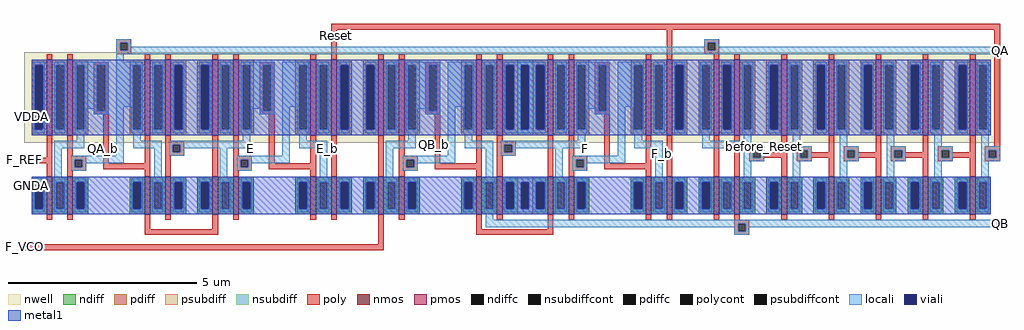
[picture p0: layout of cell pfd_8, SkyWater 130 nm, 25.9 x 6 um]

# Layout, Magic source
magic
tech sky130A
<< nwell >>
rect -60 140 2525 380
<< nmos >>
rect 0 -50 15 50
rect 55 -50 70 50
rect 260 -50 275 50
rect 315 -50 330 50
rect 440 -50 455 50
rect 495 -50 510 50
rect 700 -50 715 50
rect 755 -50 770 50
rect 880 -50 895 50
rect 935 -50 950 50
rect 1140 -50 1155 50
rect 1195 -50 1210 50
rect 1330 -50 1345 50
rect 1385 -50 1400 50
rect 1590 -50 1605 50
rect 1645 -50 1660 50
rect 1770 -50 1785 50
rect 1825 -50 1840 50
rect 1950 -50 1965 50
rect 2075 -50 2090 50
rect 2200 -50 2215 50
rect 2325 -50 2340 50
rect 2450 -50 2465 50
<< pmos >>
rect 0 160 15 360
rect 55 160 70 360
rect 260 160 275 360
rect 315 160 330 360
rect 440 160 455 360
rect 495 160 510 360
rect 700 160 715 360
rect 755 160 770 360
rect 880 160 895 360
rect 935 160 950 360
rect 1140 160 1155 360
rect 1195 160 1210 360
rect 1330 160 1345 360
rect 1385 160 1400 360
rect 1590 160 1605 360
rect 1645 160 1660 360
rect 1770 160 1785 360
rect 1825 160 1840 360
rect 1950 160 1965 360
rect 2075 160 2090 360
rect 2200 160 2215 360
rect 2325 160 2340 360
rect 2450 160 2465 360
<< ndiff >>
rect -40 35 0 50
rect -40 -35 -30 35
rect -10 -35 0 35
rect -40 -50 0 -35
rect 15 35 55 50
rect 15 -35 25 35
rect 45 -35 55 35
rect 15 -50 55 -35
rect 70 35 110 50
rect 70 -35 80 35
rect 100 -35 110 35
rect 70 -50 110 -35
rect 220 35 260 50
rect 220 -35 230 35
rect 250 -35 260 35
rect 220 -50 260 -35
rect 275 35 315 50
rect 275 -35 285 35
rect 305 -35 315 35
rect 275 -50 315 -35
rect 330 35 370 50
rect 330 -35 340 35
rect 360 -35 370 35
rect 330 -50 370 -35
rect 400 35 440 50
rect 400 -35 410 35
rect 430 -35 440 35
rect 400 -50 440 -35
rect 455 35 495 50
rect 455 -35 465 35
rect 485 -35 495 35
rect 455 -50 495 -35
rect 510 35 550 50
rect 510 -35 520 35
rect 540 -35 550 35
rect 510 -50 550 -35
rect 660 35 700 50
rect 660 -35 670 35
rect 690 -35 700 35
rect 660 -50 700 -35
rect 715 35 755 50
rect 715 -35 725 35
rect 745 -35 755 35
rect 715 -50 755 -35
rect 770 35 810 50
rect 770 -35 780 35
rect 800 -35 810 35
rect 770 -50 810 -35
rect 840 35 880 50
rect 840 -35 850 35
rect 870 -35 880 35
rect 840 -50 880 -35
rect 895 35 935 50
rect 895 -35 905 35
rect 925 -35 935 35
rect 895 -50 935 -35
rect 950 35 990 50
rect 950 -35 960 35
rect 980 -35 990 35
rect 950 -50 990 -35
rect 1100 35 1140 50
rect 1100 -35 1110 35
rect 1130 -35 1140 35
rect 1100 -50 1140 -35
rect 1155 35 1195 50
rect 1155 -35 1165 35
rect 1185 -35 1195 35
rect 1155 -50 1195 -35
rect 1210 35 1250 50
rect 1290 35 1330 50
rect 1210 -35 1220 35
rect 1240 -35 1250 35
rect 1290 -35 1300 35
rect 1320 -35 1330 35
rect 1210 -50 1250 -35
rect 1290 -50 1330 -35
rect 1345 35 1385 50
rect 1345 -35 1355 35
rect 1375 -35 1385 35
rect 1345 -50 1385 -35
rect 1400 35 1440 50
rect 1400 -35 1410 35
rect 1430 -35 1440 35
rect 1400 -50 1440 -35
rect 1550 35 1590 50
rect 1550 -35 1560 35
rect 1580 -35 1590 35
rect 1550 -50 1590 -35
rect 1605 35 1645 50
rect 1605 -35 1615 35
rect 1635 -35 1645 35
rect 1605 -50 1645 -35
rect 1660 35 1700 50
rect 1660 -35 1670 35
rect 1690 -35 1700 35
rect 1660 -50 1700 -35
rect 1730 35 1770 50
rect 1730 -35 1740 35
rect 1760 -35 1770 35
rect 1730 -50 1770 -35
rect 1785 35 1825 50
rect 1785 -35 1795 35
rect 1815 -35 1825 35
rect 1785 -50 1825 -35
rect 1840 35 1880 50
rect 1840 -35 1850 35
rect 1870 -35 1880 35
rect 1840 -50 1880 -35
rect 1910 35 1950 50
rect 1910 -35 1920 35
rect 1940 -35 1950 35
rect 1910 -50 1950 -35
rect 1965 35 2005 50
rect 1965 -35 1975 35
rect 1995 -35 2005 35
rect 1965 -50 2005 -35
rect 2035 35 2075 50
rect 2035 -35 2045 35
rect 2065 -35 2075 35
rect 2035 -50 2075 -35
rect 2090 35 2130 50
rect 2090 -35 2100 35
rect 2120 -35 2130 35
rect 2090 -50 2130 -35
rect 2160 35 2200 50
rect 2160 -35 2170 35
rect 2190 -35 2200 35
rect 2160 -50 2200 -35
rect 2215 35 2255 50
rect 2215 -35 2225 35
rect 2245 -35 2255 35
rect 2215 -50 2255 -35
rect 2285 35 2325 50
rect 2285 -35 2295 35
rect 2315 -35 2325 35
rect 2285 -50 2325 -35
rect 2340 35 2380 50
rect 2340 -35 2350 35
rect 2370 -35 2380 35
rect 2340 -50 2380 -35
rect 2410 35 2450 50
rect 2410 -35 2420 35
rect 2440 -35 2450 35
rect 2410 -50 2450 -35
rect 2465 35 2505 50
rect 2465 -35 2475 35
rect 2495 -35 2505 35
rect 2465 -50 2505 -35
<< pdiff >>
rect -40 345 0 360
rect -40 175 -30 345
rect -10 175 0 345
rect -40 160 0 175
rect 15 345 55 360
rect 15 175 25 345
rect 45 175 55 345
rect 15 160 55 175
rect 70 345 110 360
rect 70 175 80 345
rect 100 175 110 345
rect 70 160 110 175
rect 220 345 260 360
rect 220 175 230 345
rect 250 175 260 345
rect 220 160 260 175
rect 275 345 315 360
rect 275 175 285 345
rect 305 175 315 345
rect 275 160 315 175
rect 330 345 370 360
rect 330 175 340 345
rect 360 175 370 345
rect 330 160 370 175
rect 400 345 440 360
rect 400 175 410 345
rect 430 175 440 345
rect 400 160 440 175
rect 455 345 495 360
rect 455 175 465 345
rect 485 175 495 345
rect 455 160 495 175
rect 510 345 550 360
rect 510 175 520 345
rect 540 175 550 345
rect 510 160 550 175
rect 660 345 700 360
rect 660 175 670 345
rect 690 175 700 345
rect 660 160 700 175
rect 715 345 755 360
rect 715 175 725 345
rect 745 175 755 345
rect 715 160 755 175
rect 770 345 810 360
rect 770 175 780 345
rect 800 175 810 345
rect 770 160 810 175
rect 840 345 880 360
rect 840 175 850 345
rect 870 175 880 345
rect 840 160 880 175
rect 895 345 935 360
rect 895 175 905 345
rect 925 175 935 345
rect 895 160 935 175
rect 950 345 990 360
rect 950 175 960 345
rect 980 175 990 345
rect 950 160 990 175
rect 1100 345 1140 360
rect 1100 175 1110 345
rect 1130 175 1140 345
rect 1100 160 1140 175
rect 1155 345 1195 360
rect 1155 175 1165 345
rect 1185 175 1195 345
rect 1155 160 1195 175
rect 1210 345 1250 360
rect 1290 345 1330 360
rect 1210 175 1220 345
rect 1240 175 1250 345
rect 1290 175 1300 345
rect 1320 175 1330 345
rect 1210 160 1250 175
rect 1290 160 1330 175
rect 1345 345 1385 360
rect 1345 175 1355 345
rect 1375 175 1385 345
rect 1345 160 1385 175
rect 1400 345 1440 360
rect 1400 175 1410 345
rect 1430 175 1440 345
rect 1400 160 1440 175
rect 1550 345 1590 360
rect 1550 175 1560 345
rect 1580 175 1590 345
rect 1550 160 1590 175
rect 1605 345 1645 360
rect 1605 175 1615 345
rect 1635 175 1645 345
rect 1605 160 1645 175
rect 1660 345 1700 360
rect 1660 175 1670 345
rect 1690 175 1700 345
rect 1660 160 1700 175
rect 1730 345 1770 360
rect 1730 175 1740 345
rect 1760 175 1770 345
rect 1730 160 1770 175
rect 1785 345 1825 360
rect 1785 175 1795 345
rect 1815 175 1825 345
rect 1785 160 1825 175
rect 1840 345 1880 360
rect 1840 175 1850 345
rect 1870 175 1880 345
rect 1840 160 1880 175
rect 1910 345 1950 360
rect 1910 175 1920 345
rect 1940 175 1950 345
rect 1910 160 1950 175
rect 1965 345 2005 360
rect 1965 175 1975 345
rect 1995 175 2005 345
rect 1965 160 2005 175
rect 2035 345 2075 360
rect 2035 175 2045 345
rect 2065 175 2075 345
rect 2035 160 2075 175
rect 2090 345 2130 360
rect 2090 175 2100 345
rect 2120 175 2130 345
rect 2090 160 2130 175
rect 2160 345 2200 360
rect 2160 175 2170 345
rect 2190 175 2200 345
rect 2160 160 2200 175
rect 2215 345 2255 360
rect 2215 175 2225 345
rect 2245 175 2255 345
rect 2215 160 2255 175
rect 2285 345 2325 360
rect 2285 175 2295 345
rect 2315 175 2325 345
rect 2285 160 2325 175
rect 2340 345 2380 360
rect 2340 175 2350 345
rect 2370 175 2380 345
rect 2340 160 2380 175
rect 2410 345 2450 360
rect 2410 175 2420 345
rect 2440 175 2450 345
rect 2410 160 2450 175
rect 2465 345 2505 360
rect 2465 175 2475 345
rect 2495 175 2505 345
rect 2465 160 2505 175
<< ndiffc >>
rect -30 -35 -10 35
rect 25 -35 45 35
rect 80 -35 100 35
rect 230 -35 250 35
rect 285 -35 305 35
rect 340 -35 360 35
rect 410 -35 430 35
rect 465 -35 485 35
rect 520 -35 540 35
rect 670 -35 690 35
rect 725 -35 745 35
rect 780 -35 800 35
rect 850 -35 870 35
rect 905 -35 925 35
rect 960 -35 980 35
rect 1110 -35 1130 35
rect 1165 -35 1185 35
rect 1220 -35 1240 35
rect 1300 -35 1320 35
rect 1355 -35 1375 35
rect 1410 -35 1430 35
rect 1560 -35 1580 35
rect 1615 -35 1635 35
rect 1670 -35 1690 35
rect 1740 -35 1760 35
rect 1795 -35 1815 35
rect 1850 -35 1870 35
rect 1920 -35 1940 35
rect 1975 -35 1995 35
rect 2045 -35 2065 35
rect 2100 -35 2120 35
rect 2170 -35 2190 35
rect 2225 -35 2245 35
rect 2295 -35 2315 35
rect 2350 -35 2370 35
rect 2420 -35 2440 35
rect 2475 -35 2495 35
<< pdiffc >>
rect -30 175 -10 345
rect 25 175 45 345
rect 80 175 100 345
rect 230 175 250 345
rect 285 175 305 345
rect 340 175 360 345
rect 410 175 430 345
rect 465 175 485 345
rect 520 175 540 345
rect 670 175 690 345
rect 725 175 745 345
rect 780 175 800 345
rect 850 175 870 345
rect 905 175 925 345
rect 960 175 980 345
rect 1110 175 1130 345
rect 1165 175 1185 345
rect 1220 175 1240 345
rect 1300 175 1320 345
rect 1355 175 1375 345
rect 1410 175 1430 345
rect 1560 175 1580 345
rect 1615 175 1635 345
rect 1670 175 1690 345
rect 1740 175 1760 345
rect 1795 175 1815 345
rect 1850 175 1870 345
rect 1920 175 1940 345
rect 1975 175 1995 345
rect 2045 175 2065 345
rect 2100 175 2120 345
rect 2170 175 2190 345
rect 2225 175 2245 345
rect 2295 175 2315 345
rect 2350 175 2370 345
rect 2420 175 2440 345
rect 2475 175 2495 345
<< psubdiff >>
rect 1250 35 1290 50
rect 1250 -35 1260 35
rect 1280 -35 1290 35
rect 1250 -50 1290 -35
<< nsubdiff >>
rect 1250 345 1290 360
rect 1250 175 1260 345
rect 1280 175 1290 345
rect 1250 160 1290 175
<< psubdiffcont >>
rect 1260 -35 1280 35
<< nsubdiffcont >>
rect 1260 175 1280 345
<< poly >>
rect 755 440 2530 455
rect 185 405 225 415
rect 185 385 195 405
rect 215 385 225 405
rect 185 375 225 385
rect 0 360 15 375
rect 55 360 70 375
rect 260 360 275 375
rect 315 360 330 375
rect 440 360 455 375
rect 495 360 510 375
rect 700 360 715 375
rect 755 360 770 440
rect 880 360 895 375
rect 935 360 950 375
rect 1140 360 1155 375
rect 1195 360 1210 375
rect 1330 360 1345 375
rect 1385 360 1400 375
rect 1590 360 1605 375
rect 1645 360 1660 440
rect 1745 405 1785 415
rect 1745 385 1755 405
rect 1775 385 1785 405
rect 1745 375 1785 385
rect 1770 360 1785 375
rect 1825 360 1840 375
rect 1950 360 1965 375
rect 2075 360 2090 375
rect 2200 360 2215 375
rect 2325 360 2340 375
rect 2450 360 2465 375
rect 125 345 165 355
rect 125 225 135 345
rect 155 225 165 345
rect 125 215 165 225
rect 0 100 15 160
rect -60 85 15 100
rect 0 50 15 85
rect 55 105 70 160
rect 55 95 105 105
rect 55 75 75 95
rect 95 75 105 95
rect 55 65 105 75
rect 150 85 165 215
rect 565 345 605 355
rect 565 225 575 345
rect 595 225 605 345
rect 565 215 605 225
rect 260 85 275 160
rect 150 70 275 85
rect 55 50 70 65
rect 260 50 275 70
rect 315 145 330 160
rect 315 135 365 145
rect 315 115 335 135
rect 355 115 365 135
rect 315 105 365 115
rect 315 50 330 105
rect 440 50 455 160
rect 495 105 510 160
rect 495 95 545 105
rect 495 75 515 95
rect 535 75 545 95
rect 495 65 545 75
rect 590 85 605 215
rect 1005 345 1045 355
rect 1005 225 1015 345
rect 1035 225 1045 345
rect 1005 215 1045 225
rect 700 85 715 160
rect 590 70 715 85
rect 495 50 510 65
rect 700 50 715 70
rect 755 50 770 160
rect 880 50 895 160
rect 935 105 950 160
rect 935 95 985 105
rect 935 75 955 95
rect 975 75 985 95
rect 935 65 985 75
rect 1030 85 1045 215
rect 1455 345 1495 355
rect 1455 225 1465 345
rect 1485 225 1495 345
rect 1455 215 1495 225
rect 1140 85 1155 160
rect 1030 70 1155 85
rect 935 50 950 65
rect 1140 50 1155 70
rect 1195 145 1210 160
rect 1195 135 1245 145
rect 1195 115 1215 135
rect 1235 115 1245 135
rect 1195 105 1245 115
rect 1195 50 1210 105
rect 1330 50 1345 160
rect 1385 105 1400 160
rect 1385 95 1435 105
rect 1385 75 1405 95
rect 1425 75 1435 95
rect 1385 65 1435 75
rect 1480 85 1495 215
rect 1590 85 1605 160
rect 1480 70 1605 85
rect 1385 50 1400 65
rect 1590 50 1605 70
rect 1645 50 1660 160
rect 1770 50 1785 160
rect 1825 50 1840 160
rect 1865 120 1905 130
rect 1865 100 1875 120
rect 1895 115 1905 120
rect 1950 115 1965 160
rect 1895 100 1965 115
rect 1865 90 1905 100
rect 1950 50 1965 100
rect 1990 120 2030 130
rect 1990 100 2000 120
rect 2020 115 2030 120
rect 2075 115 2090 160
rect 2020 100 2090 115
rect 1990 90 2030 100
rect 2075 50 2090 100
rect 2115 120 2155 130
rect 2115 100 2125 120
rect 2145 115 2155 120
rect 2200 115 2215 160
rect 2145 100 2215 115
rect 2115 90 2155 100
rect 2200 50 2215 100
rect 2240 120 2280 130
rect 2240 100 2250 120
rect 2270 115 2280 120
rect 2325 115 2340 160
rect 2270 100 2340 115
rect 2240 90 2280 100
rect 2325 50 2340 100
rect 2365 120 2405 130
rect 2365 100 2375 120
rect 2395 115 2405 120
rect 2450 115 2465 160
rect 2515 130 2530 440
rect 2395 100 2465 115
rect 2365 90 2405 100
rect 2450 50 2465 100
rect 2490 120 2530 130
rect 2490 100 2500 120
rect 2520 100 2530 120
rect 2490 90 2530 100
rect 0 -65 15 -50
rect 55 -65 70 -50
rect 260 -90 275 -50
rect 315 -65 330 -50
rect 440 -90 455 -50
rect 495 -65 510 -50
rect 700 -65 715 -50
rect 755 -65 770 -50
rect 260 -105 455 -90
rect 880 -130 895 -50
rect 935 -65 950 -50
rect 1140 -90 1155 -50
rect 1195 -65 1210 -50
rect 1330 -90 1345 -50
rect 1385 -65 1400 -50
rect 1590 -65 1605 -50
rect 1645 -65 1660 -50
rect 1770 -65 1785 -50
rect 1825 -65 1840 -50
rect 1950 -65 1965 -50
rect 2075 -65 2090 -50
rect 2200 -65 2215 -50
rect 2325 -65 2340 -50
rect 2450 -65 2465 -50
rect 1140 -105 1345 -90
rect 1825 -75 1865 -65
rect 1825 -95 1835 -75
rect 1855 -95 1865 -75
rect 1825 -105 1865 -95
rect -60 -145 895 -130
<< polycont >>
rect 195 385 215 405
rect 1755 385 1775 405
rect 135 225 155 345
rect 75 75 95 95
rect 575 225 595 345
rect 335 115 355 135
rect 515 75 535 95
rect 1015 225 1035 345
rect 955 75 975 95
rect 1465 225 1485 345
rect 1215 115 1235 135
rect 1405 75 1425 95
rect 1875 100 1895 120
rect 2000 100 2020 120
rect 2125 100 2145 120
rect 2250 100 2270 120
rect 2375 100 2395 120
rect 2500 100 2520 120
rect 1835 -95 1855 -75
<< locali >>
rect 185 405 225 415
rect 185 385 195 405
rect 215 395 225 405
rect 1745 405 1785 415
rect 1745 395 1755 405
rect 215 385 1755 395
rect 1775 395 1785 405
rect 1775 385 2530 395
rect 185 375 2530 385
rect 185 355 205 375
rect -35 345 -5 355
rect -35 175 -30 345
rect -10 175 -5 345
rect -35 165 -5 175
rect 20 345 50 355
rect 20 175 25 345
rect 45 175 50 345
rect 20 165 50 175
rect 75 345 165 355
rect 75 175 80 345
rect 100 230 135 345
rect 100 175 105 230
rect 125 225 135 230
rect 155 225 165 345
rect 125 215 165 225
rect 185 345 255 355
rect 185 235 230 345
rect 75 165 105 175
rect 80 145 100 165
rect 20 125 100 145
rect 20 45 40 125
rect 185 105 205 235
rect 225 175 230 235
rect 250 175 255 345
rect 225 165 255 175
rect 280 345 310 355
rect 280 175 285 345
rect 305 175 310 345
rect 280 165 310 175
rect 335 345 365 355
rect 335 175 340 345
rect 360 175 365 345
rect 335 165 365 175
rect 405 345 435 355
rect 405 175 410 345
rect 430 175 435 345
rect 405 165 435 175
rect 460 345 490 355
rect 460 175 465 345
rect 485 175 490 345
rect 460 165 490 175
rect 515 345 605 355
rect 515 175 520 345
rect 540 230 575 345
rect 540 175 545 230
rect 565 225 575 230
rect 595 225 605 345
rect 565 215 605 225
rect 625 345 695 355
rect 625 235 670 345
rect 515 165 545 175
rect 230 145 250 165
rect 520 145 540 165
rect 230 125 305 145
rect 65 95 205 105
rect 65 75 75 95
rect 95 85 205 95
rect 95 75 105 85
rect 65 65 105 75
rect 285 45 305 125
rect 325 135 540 145
rect 325 115 335 135
rect 355 125 540 135
rect 355 115 365 125
rect 325 105 365 115
rect 460 45 480 125
rect 625 105 645 235
rect 665 175 670 235
rect 690 175 695 345
rect 665 165 695 175
rect 720 345 750 355
rect 720 175 725 345
rect 745 175 750 345
rect 720 165 750 175
rect 775 345 805 355
rect 775 175 780 345
rect 800 175 805 345
rect 775 165 805 175
rect 845 345 875 355
rect 845 175 850 345
rect 870 175 875 345
rect 845 165 875 175
rect 900 345 930 355
rect 900 175 905 345
rect 925 175 930 345
rect 900 165 930 175
rect 955 345 1045 355
rect 955 175 960 345
rect 980 230 1015 345
rect 980 175 985 230
rect 1005 225 1015 230
rect 1035 225 1045 345
rect 1005 215 1045 225
rect 1065 345 1135 355
rect 1065 235 1110 345
rect 955 165 985 175
rect 670 145 690 165
rect 960 145 980 165
rect 670 125 745 145
rect 505 95 645 105
rect 505 75 515 95
rect 535 85 645 95
rect 535 75 545 85
rect 505 65 545 75
rect 725 45 745 125
rect 900 125 980 145
rect 900 45 920 125
rect 1065 105 1085 235
rect 1105 175 1110 235
rect 1130 175 1135 345
rect 1105 165 1135 175
rect 1160 345 1190 355
rect 1160 175 1165 345
rect 1185 175 1190 345
rect 1160 165 1190 175
rect 1215 345 1325 355
rect 1215 175 1220 345
rect 1240 175 1260 345
rect 1280 175 1300 345
rect 1320 175 1325 345
rect 1215 165 1325 175
rect 1350 345 1380 355
rect 1350 175 1355 345
rect 1375 175 1380 345
rect 1350 165 1380 175
rect 1405 345 1495 355
rect 1405 175 1410 345
rect 1430 230 1465 345
rect 1430 175 1435 230
rect 1455 225 1465 230
rect 1485 225 1495 345
rect 1455 215 1495 225
rect 1515 345 1585 355
rect 1515 235 1560 345
rect 1405 165 1435 175
rect 1110 145 1130 165
rect 1410 145 1430 165
rect 1110 125 1185 145
rect 945 95 1085 105
rect 945 75 955 95
rect 975 85 1085 95
rect 975 75 985 85
rect 945 65 985 75
rect 1165 45 1185 125
rect 1205 135 1430 145
rect 1205 115 1215 135
rect 1235 125 1430 135
rect 1235 115 1245 125
rect 1205 105 1245 115
rect 1350 45 1370 125
rect 1515 105 1535 235
rect 1555 175 1560 235
rect 1580 175 1585 345
rect 1555 165 1585 175
rect 1610 345 1640 355
rect 1610 175 1615 345
rect 1635 175 1640 345
rect 1610 165 1640 175
rect 1665 345 1695 355
rect 1665 175 1670 345
rect 1690 175 1695 345
rect 1665 165 1695 175
rect 1735 345 1765 355
rect 1735 175 1740 345
rect 1760 175 1765 345
rect 1735 165 1765 175
rect 1790 345 1820 355
rect 1790 175 1795 345
rect 1815 175 1820 345
rect 1790 165 1820 175
rect 1845 345 1875 355
rect 1845 175 1850 345
rect 1870 175 1875 345
rect 1845 165 1875 175
rect 1915 345 1945 355
rect 1915 175 1920 345
rect 1940 175 1945 345
rect 1915 165 1945 175
rect 1970 345 2000 355
rect 1970 175 1975 345
rect 1995 175 2000 345
rect 1970 165 2000 175
rect 2040 345 2070 355
rect 2040 175 2045 345
rect 2065 175 2070 345
rect 2040 165 2070 175
rect 2095 345 2125 355
rect 2095 175 2100 345
rect 2120 175 2125 345
rect 2095 165 2125 175
rect 2165 345 2195 355
rect 2165 175 2170 345
rect 2190 175 2195 345
rect 2165 165 2195 175
rect 2220 345 2250 355
rect 2220 175 2225 345
rect 2245 175 2250 345
rect 2220 165 2250 175
rect 2290 345 2320 355
rect 2290 175 2295 345
rect 2315 175 2320 345
rect 2290 165 2320 175
rect 2345 345 2375 355
rect 2345 175 2350 345
rect 2370 175 2375 345
rect 2345 165 2375 175
rect 2415 345 2445 355
rect 2415 175 2420 345
rect 2440 175 2445 345
rect 2415 165 2445 175
rect 2470 345 2500 355
rect 2470 175 2475 345
rect 2495 175 2500 345
rect 2470 165 2500 175
rect 1560 145 1580 165
rect 1740 145 1760 165
rect 1850 145 1870 165
rect 1560 125 1635 145
rect 1740 130 1870 145
rect 1980 130 2000 165
rect 2105 130 2125 165
rect 2230 130 2250 165
rect 2355 130 2375 165
rect 2480 130 2500 165
rect 1740 125 1905 130
rect 1395 95 1535 105
rect 1395 75 1405 95
rect 1425 85 1535 95
rect 1425 75 1435 85
rect 1395 65 1435 75
rect 1615 45 1635 125
rect 1850 120 1905 125
rect 1850 100 1875 120
rect 1895 100 1905 120
rect 1850 90 1905 100
rect 1980 120 2030 130
rect 1980 100 2000 120
rect 2020 100 2030 120
rect 1980 90 2030 100
rect 2105 120 2155 130
rect 2105 100 2125 120
rect 2145 100 2155 120
rect 2105 90 2155 100
rect 2230 120 2280 130
rect 2230 100 2250 120
rect 2270 100 2280 120
rect 2230 90 2280 100
rect 2355 120 2405 130
rect 2355 100 2375 120
rect 2395 100 2405 120
rect 2355 90 2405 100
rect 2480 120 2530 130
rect 2480 100 2500 120
rect 2520 100 2530 120
rect 2480 90 2530 100
rect 1850 45 1870 90
rect 1980 45 2000 90
rect 2105 45 2125 90
rect 2230 45 2250 90
rect 2355 45 2375 90
rect 2480 45 2500 90
rect -35 35 -5 45
rect -35 -35 -30 35
rect -10 -35 -5 35
rect -35 -45 -5 -35
rect 20 35 50 45
rect 20 -35 25 35
rect 45 -35 50 35
rect 20 -45 50 -35
rect 75 35 105 45
rect 75 -35 80 35
rect 100 -35 105 35
rect 75 -45 105 -35
rect 225 35 255 45
rect 225 -35 230 35
rect 250 -35 255 35
rect 225 -45 255 -35
rect 280 35 310 45
rect 280 -35 285 35
rect 305 -35 310 35
rect 280 -45 310 -35
rect 335 35 365 45
rect 335 -35 340 35
rect 360 -35 365 35
rect 335 -45 365 -35
rect 405 35 435 45
rect 405 -35 410 35
rect 430 -35 435 35
rect 405 -45 435 -35
rect 460 35 490 45
rect 460 -35 465 35
rect 485 -35 490 35
rect 460 -45 490 -35
rect 515 35 545 45
rect 515 -35 520 35
rect 540 -35 545 35
rect 515 -45 545 -35
rect 665 35 695 45
rect 665 -35 670 35
rect 690 -35 695 35
rect 665 -45 695 -35
rect 720 35 750 45
rect 720 -35 725 35
rect 745 -35 750 35
rect 720 -45 750 -35
rect 775 35 805 45
rect 775 -35 780 35
rect 800 -35 805 35
rect 775 -45 805 -35
rect 845 35 875 45
rect 845 -35 850 35
rect 870 -35 875 35
rect 845 -45 875 -35
rect 900 35 930 45
rect 900 -35 905 35
rect 925 -35 930 35
rect 900 -45 930 -35
rect 955 35 985 45
rect 955 -35 960 35
rect 980 -35 985 35
rect 955 -45 985 -35
rect 1105 35 1135 45
rect 1105 -35 1110 35
rect 1130 -35 1135 35
rect 1105 -45 1135 -35
rect 1160 35 1190 45
rect 1160 -35 1165 35
rect 1185 -35 1190 35
rect 1160 -45 1190 -35
rect 1215 35 1325 45
rect 1215 -35 1220 35
rect 1240 -35 1260 35
rect 1280 -35 1300 35
rect 1320 -35 1325 35
rect 1215 -45 1325 -35
rect 1350 35 1380 45
rect 1350 -35 1355 35
rect 1375 -35 1380 35
rect 1350 -45 1380 -35
rect 1405 35 1435 45
rect 1405 -35 1410 35
rect 1430 -35 1435 35
rect 1405 -45 1435 -35
rect 1555 35 1585 45
rect 1555 -35 1560 35
rect 1580 -35 1585 35
rect 1555 -45 1585 -35
rect 1610 35 1640 45
rect 1610 -35 1615 35
rect 1635 -35 1640 35
rect 1610 -45 1640 -35
rect 1665 35 1695 45
rect 1665 -35 1670 35
rect 1690 -35 1695 35
rect 1665 -45 1695 -35
rect 1735 35 1765 45
rect 1735 -35 1740 35
rect 1760 -35 1765 35
rect 1735 -45 1765 -35
rect 1790 35 1820 45
rect 1790 -35 1795 35
rect 1815 -35 1820 35
rect 1790 -45 1820 -35
rect 1845 35 1875 45
rect 1845 -35 1850 35
rect 1870 -35 1875 35
rect 1845 -45 1875 -35
rect 1915 35 1945 45
rect 1915 -35 1920 35
rect 1940 -35 1945 35
rect 1915 -45 1945 -35
rect 1970 35 2000 45
rect 1970 -35 1975 35
rect 1995 -35 2000 35
rect 1970 -45 2000 -35
rect 2040 35 2070 45
rect 2040 -35 2045 35
rect 2065 -35 2070 35
rect 2040 -45 2070 -35
rect 2095 35 2125 45
rect 2095 -35 2100 35
rect 2120 -35 2125 35
rect 2095 -45 2125 -35
rect 2165 35 2195 45
rect 2165 -35 2170 35
rect 2190 -35 2195 35
rect 2165 -45 2195 -35
rect 2220 35 2250 45
rect 2220 -35 2225 35
rect 2245 -35 2250 35
rect 2220 -45 2250 -35
rect 2290 35 2320 45
rect 2290 -35 2295 35
rect 2315 -35 2320 35
rect 2290 -45 2320 -35
rect 2345 35 2375 45
rect 2345 -35 2350 35
rect 2370 -35 2375 35
rect 2345 -45 2375 -35
rect 2415 35 2445 45
rect 2415 -35 2420 35
rect 2440 -35 2445 35
rect 2415 -45 2445 -35
rect 2470 35 2500 45
rect 2470 -35 2475 35
rect 2495 -35 2500 35
rect 2470 -45 2500 -35
rect 1165 -65 1185 -45
rect 1165 -75 2530 -65
rect 1165 -85 1835 -75
rect 1825 -95 1835 -85
rect 1855 -85 2530 -75
rect 1855 -95 1865 -85
rect 1825 -105 1865 -95
<< viali >>
rect -30 175 -10 345
rect 340 175 360 345
rect 410 175 430 345
rect 780 175 800 345
rect 850 175 870 345
rect 1220 175 1240 345
rect 1260 175 1280 345
rect 1300 175 1320 345
rect 1670 175 1690 345
rect 1795 175 1815 345
rect 1920 175 1940 345
rect 2045 175 2065 345
rect 2170 175 2190 345
rect 2295 175 2315 345
rect 2420 175 2440 345
rect -30 -35 -10 35
rect 80 -35 100 35
rect 230 -35 250 35
rect 340 -35 360 35
rect 410 -35 430 35
rect 520 -35 540 35
rect 670 -35 690 35
rect 780 -35 800 35
rect 850 -35 870 35
rect 960 -35 980 35
rect 1110 -35 1130 35
rect 1220 -35 1240 35
rect 1260 -35 1280 35
rect 1300 -35 1320 35
rect 1410 -35 1430 35
rect 1560 -35 1580 35
rect 1670 -35 1690 35
rect 1740 -35 1760 35
rect 1920 -35 1940 35
rect 2045 -35 2065 35
rect 2170 -35 2190 35
rect 2295 -35 2315 35
rect 2420 -35 2440 35
<< metal1 >>
rect -40 345 2505 360
rect -40 175 -30 345
rect -10 175 340 345
rect 360 175 410 345
rect 430 175 780 345
rect 800 175 850 345
rect 870 175 1220 345
rect 1240 175 1260 345
rect 1280 175 1300 345
rect 1320 175 1670 345
rect 1690 175 1795 345
rect 1815 175 1920 345
rect 1940 175 2045 345
rect 2065 175 2170 345
rect 2190 175 2295 345
rect 2315 175 2420 345
rect 2440 175 2505 345
rect -40 160 2505 175
rect -40 35 2505 50
rect -40 -35 -30 35
rect -10 -35 80 35
rect 100 -35 230 35
rect 250 -35 340 35
rect 360 -35 410 35
rect 430 -35 520 35
rect 540 -35 670 35
rect 690 -35 780 35
rect 800 -35 850 35
rect 870 -35 960 35
rect 980 -35 1110 35
rect 1130 -35 1220 35
rect 1240 -35 1260 35
rect 1280 -35 1300 35
rect 1320 -35 1410 35
rect 1430 -35 1560 35
rect 1580 -35 1670 35
rect 1690 -35 1740 35
rect 1760 -35 1920 35
rect 1940 -35 2045 35
rect 2065 -35 2170 35
rect 2190 -35 2295 35
rect 2315 -35 2420 35
rect 2440 -35 2505 35
rect -40 -50 2505 -35
<< labels >>
flabel poly -60 95 -60 95 7 FreeSans 160 0 -80 0 F_REF
port 1 w
flabel poly 150 125 150 125 7 FreeSans 160 0 -80 0 QA_b
flabel locali 540 125 540 125 3 FreeSans 160 0 80 0 E
flabel locali 745 125 745 125 3 FreeSans 160 0 80 0 E_b
flabel locali 1905 130 1905 130 3 FreeSans 160 0 80 0 before_Reset
flabel poly 1030 135 1030 135 7 FreeSans 160 0 -80 0 QB_b
flabel locali 1430 125 1430 125 3 FreeSans 160 0 80 0 F
flabel locali 1635 110 1635 110 3 FreeSans 160 0 80 0 F_b
flabel metal1 -40 25 -40 25 7 FreeSans 160 0 -80 0 GNDA
port 6 w
flabel metal1 -40 210 -40 210 7 FreeSans 160 0 -80 0 VDDA
port 3 w
flabel poly -60 -135 -60 -135 7 FreeSans 160 0 -80 0 F_VCO
port 2 w
flabel locali 2530 -75 2530 -75 3 FreeSans 160 0 80 0 QB
port 5 e
flabel poly 770 425 770 425 3 FreeSans 160 0 80 0 Reset
flabel locali 2530 385 2530 385 3 FreeSans 160 0 80 0 QA
port 4 e
<< end >>
